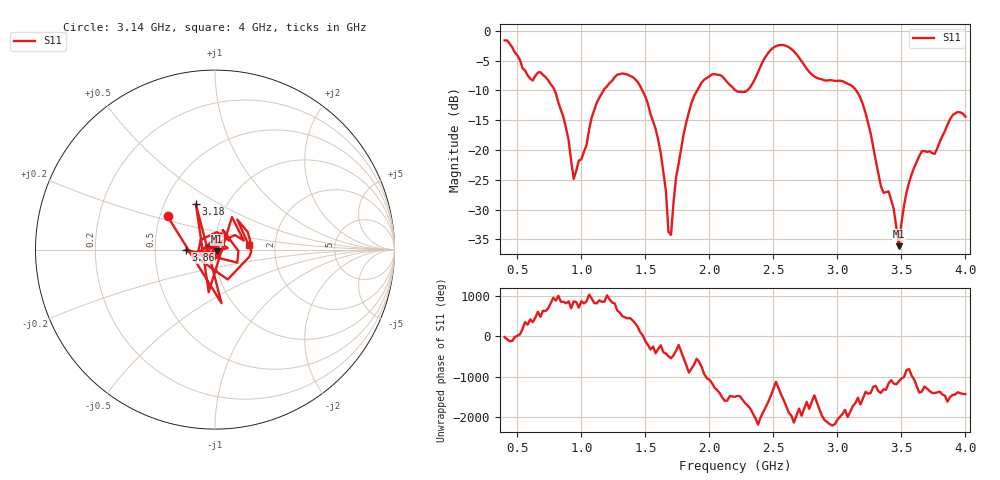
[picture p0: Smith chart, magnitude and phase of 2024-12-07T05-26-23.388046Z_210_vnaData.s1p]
!Created with skrf (http://scikit-rf.org).
# Hz S RI R 50.0
!freq ReS11 ImS11
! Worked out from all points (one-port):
!   181 points, 400 MHz to 4 GHz, reference 50 ohm
!   lowest |S11| = -36.1 dB at 3.48 GHz (marker M1), VSWR 1.03, Z = 51.2 - j0.985 ohm
!   |S11| at or under -10 dB: 790.2 MHz to 1.173 GHz (382.9 MHz wide, 39 % of centre); 1.476 GHz to 1.906 GHz (429.4 MHz wide, 25.4 % of centre); 3.146 GHz to end of sweep (the widest 3 of 4)
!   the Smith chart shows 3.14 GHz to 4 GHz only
!   S11 on the Smith chart (normalised r, x): 3.14 GHz: 0.55, +0.23; 3.18 GHz: 0.72, +0.39; 3.86 GHz: 0.72, -0.00; 4 GHz: 1.46, +0.08
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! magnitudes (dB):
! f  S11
! 400 MHz  -1.6
! 600 MHz  -8.0
! 740 MHz  -8.3
! 860 MHz  -14.6
! 940 MHz  -24.8
! 1.12 GHz  -12.1
! 1.3 GHz  -7.3
! 1.52 GHz  -12.3
! 1.62 GHz  -20.5
! 1.66 GHz  -26.8
! 1.68 GHz  -33.7
! 1.7 GHz  -34.2
! 1.76 GHz  -22.2
! 1.86 GHz  -12.1
! 1.94 GHz  -8.7
! 2.2 GHz  -9.9
! 2.3 GHz  -9.9
! 2.5 GHz  -2.8
! 2.66 GHz  -3.5
! 3.1 GHz  -9.1
! 3.14 GHz  -9.8
! 3.18 GHz  -11.3
! 3.34 GHz  -26.1
! 3.44 GHz  -29.9
! 3.48 GHz  -36.1
! 3.56 GHz  -25.4
! 3.86 GHz  -15.8
! 4 GHz  -14.4
